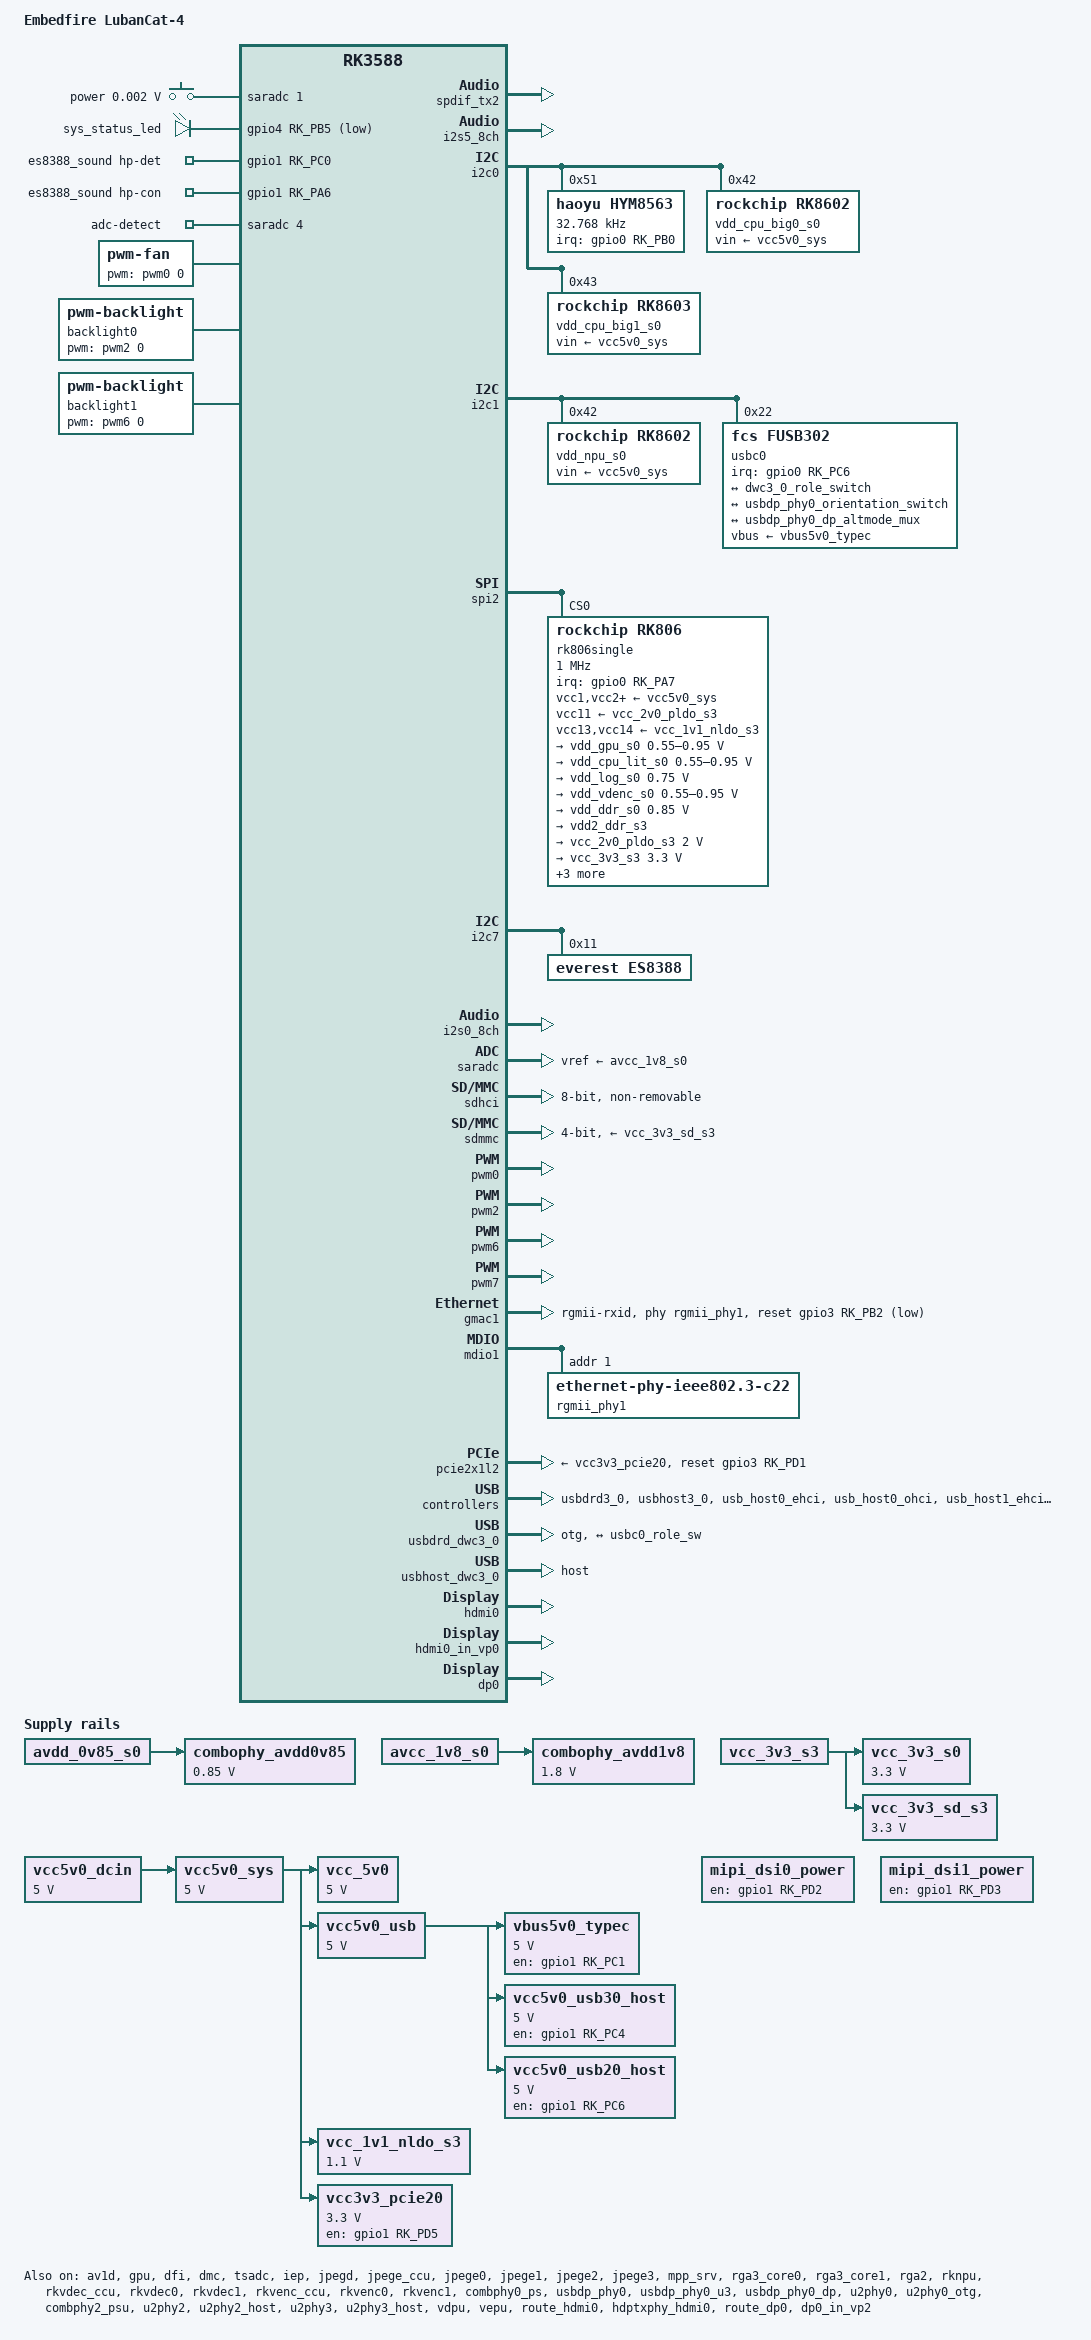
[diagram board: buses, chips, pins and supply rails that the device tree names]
// SPDX-License-Identifier: (GPL-2.0+ OR MIT)
/*
 * Copyright (c) 2021 Rockchip Electronics Co., Ltd.
 * Copyright (c) 2023 EmbedFire <embedfire@embedfire.com>
 * Copyright (c) 2023 erd-yunmu <cancet@embedfire.com>
 */

/dts-v1/;

#include <dt-bindings/usb/pd.h>
#include <dt-bindings/gpio/gpio.h>
#include <dt-bindings/pwm/pwm.h>
#include <dt-bindings/pinctrl/rockchip.h>
#include <dt-bindings/input/rk-input.h>
#include <dt-bindings/display/drm_mipi_dsi.h>
#include <dt-bindings/display/rockchip_vop.h>
#include <dt-bindings/sensor-dev.h>
#include "rk3588s.dtsi"
#include "rk3588-linux.dtsi"

/ {
	model = "Embedfire LubanCat-4";
	compatible = "rockchip,rk3588s-lubancat-4", "rockchip,rk3588";

	chosen: chosen {
		bootargs = "earlycon=uart8250,mmio32,0xfeb50000 console=ttyFIQ0 coherent_pool=1m irqchip.gicv3_pseudo_nmi=0";
	};

	adc_keys: adc-keys {
		compatible = "adc-keys";
		io-channels = <&saradc 1>;
		io-channel-names = "buttons";
		keyup-threshold-microvolt = <1800000>;
		poll-interval = <100>;
		
		power {
			label = "power";
			linux,code = <KEY_POWER>;
			press-threshold-microvolt = <1750>;
		};
	};

	leds: leds {
		status = "okay";
		compatible = "gpio-leds";

		sys_status_led: sys-status-led {
			label = "sys_status_led";
			linux,default-trigger = "heartbeat";
			default-state = "on";
			gpios = <&gpio4 RK_PB5 GPIO_ACTIVE_LOW>;
			pinctrl-names = "default";
			pinctrl-0 = <&sys_status_led_pin>;
		};
	};

	vcc5v0_dcin: vcc5v0-dcin {
		compatible = "regulator-fixed";
		regulator-name = "vcc5v_dcin";
		regulator-always-on;
		regulator-boot-on;
		regulator-min-microvolt = <5000000>;
		regulator-max-microvolt = <5000000>;
	};
	
	vcc5v0_sys: vcc5v0-sys {
		compatible = "regulator-fixed";
		regulator-name = "vcc5v0_sys";
		regulator-always-on;
		regulator-boot-on;
		regulator-min-microvolt = <5000000>;
		regulator-max-microvolt = <5000000>;
		vin-supply = <&vcc5v0_dcin>;
	};

	vcc_5v0: vcc-5v0 {
		compatible = "regulator-fixed";
		regulator-name = "vcc_5v0";
		regulator-always-on;
		regulator-boot-on;
		regulator-min-microvolt = <5000000>;
		regulator-max-microvolt = <5000000>;
		vin-supply = <&vcc5v0_sys>;
	};

	vcc5v0_usb: vcc5v0-usb {
		compatible = "regulator-fixed";
		regulator-name = "vcc_5v0";
		regulator-always-on;
		regulator-boot-on;
		regulator-min-microvolt = <5000000>;
		regulator-max-microvolt = <5000000>;
		vin-supply = <&vcc5v0_sys>;
	};

	combophy_avdd0v85: combophy-avdd0v85 {
		compatible = "regulator-fixed";
		regulator-name = "combophy_avdd0v85";
		regulator-boot-on;
		regulator-min-microvolt = <850000>;
		regulator-max-microvolt = <850000>;
		vin-supply = <&avdd_0v85_s0>;
	};

	combophy_avdd1v8: combophy-avdd1v8 {
		compatible = "regulator-fixed";
		regulator-name = "combophy_avdd1v8";
		regulator-boot-on;
		regulator-min-microvolt = <1800000>;
		regulator-max-microvolt = <1800000>;
		vin-supply = <&avcc_1v8_s0>;
	};

	vcc_1v1_nldo_s3: vcc-1v1-nldo-s3 {
		compatible = "regulator-fixed";
		regulator-name = "vcc_1v1_nldo_s3";
		regulator-always-on;
		regulator-boot-on;
		regulator-min-microvolt = <1100000>;
		regulator-max-microvolt = <1100000>;
		vin-supply = <&vcc5v0_sys>;
	};

	vcc_3v3_s0: vcc-3v3-s0 {
		compatible = "regulator-fixed";
		regulator-name = "vcc_3v3_s0";
		regulator-always-on;
		regulator-boot-on;
		regulator-min-microvolt = <3300000>;
		regulator-max-microvolt = <3300000>;
		vin-supply = <&vcc_3v3_s3>;
	};

	vcc_3v3_sd_s3: vcc-3v3-sd-s3 {
		compatible = "regulator-fixed";
		regulator-name = "vcc_3v3_sd_s3";
		regulator-always-on;
		regulator-boot-on;
		regulator-min-microvolt = <3300000>;
		regulator-max-microvolt = <3300000>;
		vin-supply = <&vcc_3v3_s3>;
	};

	vbus5v0_typec: vbus5v0-typec {
		compatible = "regulator-fixed";
		regulator-name = "vbus5v0_typec";
		regulator-min-microvolt = <5000000>;
		regulator-max-microvolt = <5000000>;
		enable-active-high;
		gpio = <&gpio1 RK_PC1 GPIO_ACTIVE_HIGH>;
		vin-supply = <&vcc5v0_usb>;
		pinctrl-names = "default";
		pinctrl-0 = <&typec_vbus_en>;
	};

	vcc5v0_usb30_host: vcc5v0-usb30-host {
		compatible = "regulator-fixed";
		regulator-name = "vcc5v0_usb30_host";
		regulator-min-microvolt = <5000000>;
		regulator-max-microvolt = <5000000>;
		enable-active-high;
		gpio = <&gpio1 RK_PC4 GPIO_ACTIVE_HIGH>;
		vin-supply = <&vcc5v0_usb>;
		pinctrl-names = "default";
		pinctrl-0 = <&usb30_host_pwr_en>;
	};

	vcc5v0_usb20_host: vcc5v0-usb20-host {
		compatible = "regulator-fixed";
		regulator-name = "vcc5v0_usb20_host";
		regulator-min-microvolt = <5000000>;
		regulator-max-microvolt = <5000000>;
		enable-active-high;
		gpio = <&gpio1 RK_PC6 GPIO_ACTIVE_HIGH>;
		vin-supply = <&vcc5v0_usb>;
		pinctrl-names = "default";
		pinctrl-0 = <&usb20_host_pwr_en>;
	};

	vcc3v3_pcie20: vcc3v3-pcie20 {
		compatible = "regulator-fixed";
		regulator-name = "vcc3v3_pcie20";
		regulator-min-microvolt = <3300000>;
		regulator-max-microvolt = <3300000>;
		enable-active-high;
		regulator-always-on;
		gpios = <&gpio1 RK_PD5 GPIO_ACTIVE_HIGH>;
		startup-delay-us = <5000>;
		vin-supply = <&vcc5v0_sys>;
	};

	mipi_dsi0_power: mipi-dsi0-power-regulator {
		compatible = "regulator-fixed";
		regulator-name = "mipi_dsi0_power";
		gpio = <&gpio1 RK_PD2 GPIO_ACTIVE_HIGH>;
		enable-active-high;
		regulator-boot-on;
		regulator-always-on;
	};

	mipi_dsi1_power: mipi-dsi1-power-regulator {
		compatible = "regulator-fixed";
		regulator-name = "mipi_dsi1_power";
		gpio = <&gpio1 RK_PD3 GPIO_ACTIVE_HIGH>;
		enable-active-high;
		regulator-boot-on;
		regulator-always-on;
	};

	dp0_sound: dp0-sound {
		status = "okay";
		compatible = "rockchip,hdmi";
		rockchip,card-name= "rockchip,dp0";
		rockchip,mclk-fs = <512>;
		rockchip,cpu = <&spdif_tx2>;
		rockchip,codec = <&dp0 1>;
		rockchip,jack-det;
	};

	hdmi0_sound: hdmi0-sound {
		status = "okay";
		compatible = "rockchip,hdmi";
		rockchip,mclk-fs = <128>;
		rockchip,card-name = "rockchip-hdmi0";
		rockchip,cpu = <&i2s5_8ch>;
		rockchip,codec = <&hdmi0>;
		rockchip,jack-det;
	};

	es8388_sound: es8388-sound {
		status = "okay";
		compatible = "rockchip,multicodecs-card";
		rockchip,card-name = "rockchip-es8388";
		hp-det-gpio = <&gpio1 RK_PC0 GPIO_ACTIVE_HIGH>;
		hp-con-gpio = <&gpio1 RK_PA6 GPIO_ACTIVE_HIGH>;
		io-channels = <&saradc 4>;
		io-channel-names = "adc-detect";
		keyup-threshold-microvolt = <1800000>;
		poll-interval = <100>;
		rockchip,format = "i2s";
		rockchip,mclk-fs = <256>;
		rockchip,cpu = <&i2s0_8ch>;
		rockchip,codec = <&es8388>;
		rockchip,audio-routing =
			"Headphone", "LOUT1",
			"Headphone", "ROUT1",
			"Headphone", "Headphone Power",
			"Headphone", "Headphone Power",
			"LINPUT1", "Main Mic",
			"LINPUT2", "Main Mic",
			"RINPUT1", "Headset Mic",
			"RINPUT2", "Headset Mic";
		pinctrl-names = "default";
		pinctrl-0 = <&hp_det>;
		play-pause-key {
			label = "playpause";
			linux,code = <KEY_PLAYPAUSE>;
			press-threshold-microvolt = <2000>;
		};

		previous-song-key {
			label = "previoussong";
			linux,code = <KEY_PREVIOUSSONG>;
			press-threshold-microvolt = <145000>;
		};

		next-song-key {
			label = "nextsong";
			linux,code = <KEY_NEXTSONG>;
			press-threshold-microvolt = <290000>;
		};
	};

	fan: pwm-fan {
		compatible = "pwm-fan";
		#cooling-cells = <2>;
		pwms = <&pwm0 0 250000 0>;
		cooling-levels = <0 100 150 200 255>;
		rockchip,temp-trips = <
			50000	1
			55000	2
			60000	3
			65000	4
		>;
	};

	backlight0: backlight0 {
		compatible = "pwm-backlight";
		pwms = <&pwm2 0 25000 0>;
		brightness-levels = <
		0  20  20  21  21  22  22  23
		23  24  24  25  25  26  26  27
		27  28  28  29  29  30  30  31
		31  32  32  33  33  34  34  35
		35  36  36  37  37  38  38  39
		40  41  42  43  44  45  46  47
		48  49  50  51  52  53  54  55
		56  57  58  59  60  61  62  63
		64  65  66  67  68  69  70  71
		72  73  74  75  76  77  78  79
		80  81  82  83  84  85  86  87
		88  89  90  91  92  93  94  95
		96  97  98  99 100 101 102 103
		104 105 106 107 108 109 110 111
		112 113 114 115 116 117 118 119
		120 121 122 123 124 125 126 127
		128 129 130 131 132 133 134 135
		136 137 138 139 140 141 142 143
		144 145 146 147 148 149 150 151
		152 153 154 155 156 157 158 159
		160 161 162 163 164 165 166 167
		168 169 170 171 172 173 174 175
		176 177 178 179 180 181 182 183
		184 185 186 187 188 189 190 191
		192 193 194 195 196 197 198 199
		200 201 202 203 204 205 206 207
		208 209 210 211 212 213 214 215
		216 217 218 219 220 221 222 223
		224 225 226 227 228 229 230 231
		232 233 234 235 236 237 238 239
		240 241 242 243 244 245 246 247
		248 249 250 251 252 253 254 255	
		>;
		default-brightness-level = <200>;
	};

	backlight1: backlight1 {
		compatible = "pwm-backlight";
		pwms = <&pwm6 0 25000 0>;
		brightness-levels = <
		0  20  20  21  21  22  22  23
		23  24  24  25  25  26  26  27
		27  28  28  29  29  30  30  31
		31  32  32  33  33  34  34  35
		35  36  36  37  37  38  38  39
		40  41  42  43  44  45  46  47
		48  49  50  51  52  53  54  55
		56  57  58  59  60  61  62  63
		64  65  66  67  68  69  70  71
		72  73  74  75  76  77  78  79
		80  81  82  83  84  85  86  87
		88  89  90  91  92  93  94  95
		96  97  98  99 100 101 102 103
		104 105 106 107 108 109 110 111
		112 113 114 115 116 117 118 119
		120 121 122 123 124 125 126 127
		128 129 130 131 132 133 134 135
		136 137 138 139 140 141 142 143
		144 145 146 147 148 149 150 151
		152 153 154 155 156 157 158 159
		160 161 162 163 164 165 166 167
		168 169 170 171 172 173 174 175
		176 177 178 179 180 181 182 183
		184 185 186 187 188 189 190 191
		192 193 194 195 196 197 198 199
		200 201 202 203 204 205 206 207
		208 209 210 211 212 213 214 215
		216 217 218 219 220 221 222 223
		224 225 226 227 228 229 230 231
		232 233 234 235 236 237 238 239
		240 241 242 243 244 245 246 247
		248 249 250 251 252 253 254 255	
		>;
		default-brightness-level = <200>;
	};

	test-power {
		status = "okay";
	};
};

&rockchip_suspend {
	status = "disabled";
	rockchip,sleep-debug-en = <1>;
	rockchip,sleep-mode-config = <
		(0
		| RKPM_SLP_ARMOFF_DDRPD 
		)
	>;
	rockchip,wakeup-config = <
		(0
		| RKPM_GPIO_WKUP_EN
		| RKPM_CPU0_WKUP_EN
		)
	>;
};

&av1d {
	status = "okay";
};

&av1d_mmu {
	status = "okay";
};

&spdif_tx2 {
    status = "okay";
};

&i2s5_8ch {
	status = "okay";
};

&cpu_l0 {
	cpu-supply = <&vdd_cpu_lit_s0>;
	mem-supply = <&vdd_cpu_lit_mem_s0>;
};

&cpu_b0 {
	cpu-supply = <&vdd_cpu_big0_s0>;
	mem-supply = <&vdd_cpu_big0_mem_s0>;
};

&cpu_b2 {
	cpu-supply = <&vdd_cpu_big1_s0>;
	mem-supply = <&vdd_cpu_big1_mem_s0>;
};

&gpu {
	mali-supply = <&vdd_gpu_s0>;
	mem-supply = <&vdd_gpu_mem_s0>;
	upthreshold = <60>;
	downdifferential = <30>;
	status = "okay";
};

&dfi {
	status = "okay";
};

&dmc {
	status = "okay";
	center-supply = <&vdd_ddr_s0>;
	mem-supply = <&vdd_log_s0>;
};

&i2c0 {
	pinctrl-names = "default";
	pinctrl-0 = <&i2c0m2_xfer>;
	status = "okay";

	hym8563: hym8563@51 {
		compatible = "haoyu,hym8563";
		reg = <0x51>;
		#clock-cells = <0>;
		clock-frequency = <32768>;
		clock-output-names = "hym8563";
		pinctrl-names = "default";
		pinctrl-0 = <&hym8563_int>;
		interrupt-parent = <&gpio0>;
		interrupts = <RK_PB0 IRQ_TYPE_LEVEL_LOW>;
		wakeup-source;
	};

	vdd_cpu_big0_s0: vdd_cpu_big0_mem_s0: rk8602@42 {
		compatible = "rockchip,rk8602";
		reg = <0x42>;
		vin-supply = <&vcc5v0_sys>;
		regulator-compatible = "rk860x-reg";
		regulator-name = "vdd_cpu_big0_s0";
		regulator-min-microvolt = <550000>;
		regulator-max-microvolt = <1050000>;
		regulator-ramp-delay = <2300>;
		rockchip,suspend-voltage-selector = <1>;
		regulator-boot-on;
		regulator-always-on;
		regulator-state-mem {
			regulator-off-in-suspend;
		};
	};

	vdd_cpu_big1_s0: vdd_cpu_big1_mem_s0: rk8603@43 {
		compatible = "rockchip,rk8603";
		reg = <0x43>;
		vin-supply = <&vcc5v0_sys>;
		regulator-compatible = "rk860x-reg";
		regulator-name = "vdd_cpu_big1_s0";
		regulator-min-microvolt = <550000>;
		regulator-max-microvolt = <1050000>;
		regulator-ramp-delay = <2300>;
		rockchip,suspend-voltage-selector = <1>;
		regulator-boot-on;
		regulator-always-on;
		regulator-state-mem {
			regulator-off-in-suspend;
		};
	};
};

&i2c1 {
	pinctrl-names = "default";
	pinctrl-0 = <&i2c1m2_xfer>;
	status = "okay";

	vdd_npu_s0: vdd_npu_mem_s0: rk8602@42 {
		compatible = "rockchip,rk8602";
		reg = <0x42>;
		vin-supply = <&vcc5v0_sys>;
		regulator-compatible = "rk860x-reg";
		regulator-name = "vdd_npu_s0";
		regulator-min-microvolt = <550000>;
		regulator-max-microvolt = <950000>;
		regulator-ramp-delay = <2300>;
		rockchip,suspend-voltage-selector = <1>;
		regulator-boot-on;
		regulator-always-on;
		regulator-state-mem {
			regulator-off-in-suspend;
		};
	};

	/* Typec Controller Fusb302 */
	usbc0: fusb302@22 {
		compatible = "fcs,fusb302";
		reg = <0x22>;
		interrupt-parent = <&gpio0>;
		interrupts = <RK_PC6 IRQ_TYPE_LEVEL_LOW>;
		pinctrl-names = "default";
		pinctrl-0 = <&fusb302_int>;
		vbus-supply = <&vbus5v0_typec>;
		status = "okay";

		ports {
			#address-cells = <1>;
			#size-cells = <0>;

			port@0 {
				reg = <0>;
				usbc0_role_sw: endpoint@0 {
					remote-endpoint = <&dwc3_0_role_switch>;
				};
			};
		};

		usb_con: connector {
			compatible = "usb-c-connector";
			label = "USB-C";
			data-role = "dual";
			power-role = "dual";
			try-power-role = "sink";
			op-sink-microwatt = <1000000>;
			sink-pdos =
				<PDO_FIXED(5000, 1000, PDO_FIXED_USB_COMM)>;
			source-pdos =
				<PDO_FIXED(5000, 3000, PDO_FIXED_USB_COMM)>;

			altmodes {
				#address-cells = <1>;
				#size-cells = <0>;

				altmode@0 {
					reg = <0>;
					svid = <0xff01>;
					vdo = <0xffffffff>;
				};
			};

			ports {
				#address-cells = <1>;
				#size-cells = <0>;

				port@0 {
					reg = <0>;
					usbc0_orien_sw: endpoint {
						remote-endpoint = <&usbdp_phy0_orientation_switch>;
					};
				};

				port@1 {
					reg = <1>;
					dp_altmode_mux: endpoint {
						remote-endpoint = <&usbdp_phy0_dp_altmode_mux>;
					};
				};
			};
		};
	};
};

&spi2 {
	status = "okay";
	assigned-clocks = <&cru CLK_SPI2>;
	assigned-clock-rates = <200000000>;
	pinctrl-names = "default";
	pinctrl-0 = <&spi2m2_cs0 &spi2m2_pins>;
	num-cs = <1>;

	rk806single@0 {
		compatible = "rockchip,rk806";
		spi-max-frequency = <1000000>;
		reg = <0x0>;

		interrupt-parent = <&gpio0>;
		interrupts = <RK_PA7 IRQ_TYPE_LEVEL_LOW>;

		pinctrl-names = "default", "pmic-power-off";
		pinctrl-0 = <&pmic_pins>, <&rk806_dvs1_null>, <&rk806_dvs2_null>, <&rk806_dvs3_null>;
		pinctrl-1 = <&rk806_dvs1_pwrdn>;

		/* 2800mv-3500mv */
		low_voltage_threshold = <3000>;
		/* 2700mv-3400mv */
		shutdown_voltage_threshold = <2700>;
		/* 140 160 */
		shutdown_temperture_threshold = <160>;
		hotdie_temperture_threshold = <115>;

		/* 0: restart PMU;
		 * 1: reset all the power off reset registers,
		 *	forcing the state to switch to ACTIVE mode;
		 * 2: Reset all the power off reset registers,
		 *	forcing the state to switch to ACTIVE mode,
		 *	and simultaneously pull down the RESETB PIN for 5mS before releasing
		 */
		pmic-reset-func = <1>;

		vcc1-supply = <&vcc5v0_sys>;
		vcc2-supply = <&vcc5v0_sys>;
		vcc3-supply = <&vcc5v0_sys>;
		vcc4-supply = <&vcc5v0_sys>;
		vcc5-supply = <&vcc5v0_sys>;
		vcc6-supply = <&vcc5v0_sys>;
		vcc7-supply = <&vcc5v0_sys>;
		vcc8-supply = <&vcc5v0_sys>;
		vcc9-supply = <&vcc5v0_sys>;
		vcc10-supply = <&vcc5v0_sys>;
		vcc11-supply = <&vcc_2v0_pldo_s3>;
		vcc12-supply = <&vcc5v0_sys>;
		vcc13-supply = <&vcc_1v1_nldo_s3>;
		vcc14-supply = <&vcc_1v1_nldo_s3>;
		vcca-supply = <&vcc5v0_sys>;

		pwrkey {
			status = "okay";
		};

		pinctrl_rk806: pinctrl_rk806 {
			gpio-controller;
			#gpio-cells = <2>;

			rk806_dvs1_null: rk806_dvs1_null {
				pins = "gpio_pwrctrl2";
				function = "pin_fun0";
			};

			rk806_dvs1_slp: rk806_dvs1_slp {
				pins = "gpio_pwrctrl1";
				function = "pin_fun1";
			};

			rk806_dvs1_pwrdn: rk806_dvs1_pwrdn {
				pins = "gpio_pwrctrl1";
				function = "pin_fun2";
			};

			rk806_dvs1_rst: rk806_dvs1_rst {
				pins = "gpio_pwrctrl1";
				function = "pin_fun3";
			};

			rk806_dvs2_null: rk806_dvs2_null {
				pins = "gpio_pwrctrl2";
				function = "pin_fun0";
			};

			rk806_dvs2_slp: rk806_dvs2_slp {
				pins = "gpio_pwrctrl2";
				function = "pin_fun1";
			};

			rk806_dvs2_pwrdn: rk806_dvs2_pwrdn {
				pins = "gpio_pwrctrl2";
				function = "pin_fun2";
			};

			rk806_dvs2_rst: rk806_dvs2_rst {
				pins = "gpio_pwrctrl2";
				function = "pin_fun3";
			};

			rk806_dvs2_dvs: rk806_dvs2_dvs {
				pins = "gpio_pwrctrl2";
				function = "pin_fun4";
			};

			rk806_dvs2_gpio: rk806_dvs2_gpio {
				pins = "gpio_pwrctrl2";
				function = "pin_fun5";
			};

			rk806_dvs3_null: rk806_dvs3_null {
				pins = "gpio_pwrctrl3";
				function = "pin_fun0";
			};

			rk806_dvs3_slp: rk806_dvs3_slp {
				pins = "gpio_pwrctrl3";
				function = "pin_fun1";
			};

			rk806_dvs3_pwrdn: rk806_dvs3_pwrdn {
				pins = "gpio_pwrctrl3";
				function = "pin_fun2";
			};

			rk806_dvs3_rst: rk806_dvs3_rst {
				pins = "gpio_pwrctrl3";
				function = "pin_fun3";
			};

			rk806_dvs3_dvs: rk806_dvs3_dvs {
				pins = "gpio_pwrctrl3";
				function = "pin_fun4";
			};

			rk806_dvs3_gpio: rk806_dvs3_gpio {
				pins = "gpio_pwrctrl3";
				function = "pin_fun5";
			};
		};

		regulators {
			vdd_gpu_s0: vdd_gpu_mem_s0: DCDC_REG1 {
				regulator-always-on;
				regulator-boot-on;
				regulator-min-microvolt = <550000>;
				regulator-max-microvolt = <950000>;
				regulator-ramp-delay = <12500>;
				regulator-name = "vdd_gpu_s0";
				regulator-state-mem {
					regulator-off-in-suspend;
				};
			};

			vdd_cpu_lit_s0: vdd_cpu_lit_mem_s0: DCDC_REG2 {
				regulator-always-on;
				regulator-boot-on;
				regulator-min-microvolt = <550000>;
				regulator-max-microvolt = <950000>;
				regulator-ramp-delay = <12500>;
				regulator-name = "vdd_cpu_lit_s0";
				regulator-state-mem {
					regulator-off-in-suspend;
				};
			};

			vdd_log_s0: DCDC_REG3 {
				regulator-always-on;
				regulator-boot-on;
				regulator-min-microvolt = <750000>;
				regulator-max-microvolt = <750000>;
				regulator-ramp-delay = <12500>;
				regulator-name = "vdd_log_s0";
				regulator-state-mem {
					regulator-on-in-suspend;
				};
			};

			vdd_vdenc_s0: vdd_vdenc_mem_s0: DCDC_REG4 {
				regulator-always-on;
				regulator-boot-on;
				regulator-min-microvolt = <550000>;
				regulator-max-microvolt = <950000>;
				regulator-init-microvolt = <750000>;
				regulator-ramp-delay = <12500>;
				regulator-name = "vdd_vdenc_s0";
				regulator-state-mem {
					regulator-off-in-suspend;
				};
			};

			vdd_ddr_s0: DCDC_REG5 {
				regulator-always-on;
				regulator-boot-on;
				regulator-min-microvolt = <850000>;
				regulator-max-microvolt = <850000>;
				regulator-ramp-delay = <12500>;
				regulator-name = "vdd_ddr_s0";
				regulator-state-mem {
					regulator-off-in-suspend;
					regulator-suspend-microvolt = <850000>;
				};
			};

			vdd2_ddr_s3: DCDC_REG6 {
				regulator-always-on;
				regulator-boot-on;
				regulator-name = "vdd2_ddr_s3";
				regulator-state-mem {
					regulator-on-in-suspend;
				};
			};

			vcc_2v0_pldo_s3: DCDC_REG7 {
				regulator-always-on;
				regulator-boot-on;
				regulator-min-microvolt = <2000000>;
				regulator-max-microvolt = <2000000>;
				regulator-name = "vdd_2v0_pldo_s3";
				regulator-state-mem {
					regulator-on-in-suspend;
					regulator-suspend-microvolt = <2000000>;
				};
			};

			vcc_3v3_s3: DCDC_REG8 {
				regulator-always-on;
				regulator-boot-on;
				regulator-min-microvolt = <3300000>;
				regulator-max-microvolt = <3300000>;
				regulator-name = "vcc_3v3_s3";
				regulator-state-mem {
					regulator-on-in-suspend;
				};
			};

			vddq_ddr_s0: DCDC_REG9 {
				regulator-always-on;
				regulator-boot-on;
				regulator-name = "vddq_ddr_s0";
				regulator-state-mem {
					regulator-off-in-suspend;
				};
			};

			vcc_1v8_s3: DCDC_REG10 {
				regulator-always-on;
				regulator-boot-on;
				regulator-min-microvolt = <1800000>;
				regulator-max-microvolt = <1800000>;
				regulator-name = "vcc_1v8_s3";
				regulator-state-mem {
					regulator-on-in-suspend;
					regulator-suspend-microvolt = <1800000>;
				};
			};

			vcc_1v8_s0: PLDO_REG1 {
				regulator-always-on;
				regulator-boot-on;
				regulator-min-microvolt = <1800000>;
				regulator-max-microvolt = <1800000>;
				regulator-name = "vcc_1v8_s0";
				regulator-state-mem {
					regulator-on-in-suspend;
				};
			};

			avcc_1v8_s0: PLDO_REG2 {
				regulator-always-on;
				regulator-boot-on;
				regulator-min-microvolt = <1800000>;
				regulator-max-microvolt = <1800000>;
				regulator-name = "avcc_1v8_s0";
				regulator-state-mem {
					regulator-off-in-suspend;
					regulator-suspend-microvolt = <1800000>;
				};
			};

			avdd_1v2_s0: PLDO_REG3 {
				regulator-always-on;
				regulator-boot-on;
				regulator-min-microvolt = <1200000>;
				regulator-max-microvolt = <1200000>;
				regulator-name = "avdd_1v2_s0";
				regulator-state-mem {
					regulator-off-in-suspend;
				};
			};

			avcc_3v3_s0: PLDO_REG4 {
				regulator-always-on;
				regulator-boot-on;
				regulator-min-microvolt = <3300000>;
				regulator-max-microvolt = <3300000>;
				regulator-name = "avcc_3v3_s0";
				regulator-state-mem {
					regulator-off-in-suspend;
				};
			};

			vccio_sd_s0: PLDO_REG5 {
				regulator-always-on;
				regulator-boot-on;
				regulator-min-microvolt = <1800000>;
				regulator-max-microvolt = <3300000>;
				regulator-name = "vccio_sd_s0";
				regulator-state-mem {
					regulator-off-in-suspend;
				};
			};

			pldo6_s3: PLDO_REG6 {
				regulator-always-on;
				regulator-boot-on;
				regulator-min-microvolt = <1800000>;
				regulator-max-microvolt = <1800000>;
				regulator-name = "pldo6_s3";
				regulator-state-mem {
					regulator-on-in-suspend;
					regulator-suspend-microvolt = <1800000>;
				};
			};

			vdd_0v75_s3: NLDO_REG1 {
				regulator-always-on;
				regulator-boot-on;
				regulator-min-microvolt = <750000>;
				regulator-max-microvolt = <750000>;
				regulator-name = "vdd_0v75_s3";
				regulator-state-mem {
					regulator-on-in-suspend;
					regulator-suspend-microvolt = <750000>;
				};
			};

			avdd_ddr_pll_s0: NLDO_REG2 {
				regulator-always-on;
				regulator-boot-on;
				regulator-min-microvolt = <850000>;
				regulator-max-microvolt = <850000>;
				regulator-name = "avdd_ddr_pll_s0";
				regulator-state-mem {
					regulator-off-in-suspend;
					regulator-suspend-microvolt = <850000>;
				};
			};

			avdd_0v75_s0: NLDO_REG3 {
				regulator-always-on;
				regulator-boot-on;
				regulator-min-microvolt = <750000>;
				regulator-max-microvolt = <750000>;
				regulator-name = "avdd_0v75_s0";
				regulator-state-mem {
					regulator-off-in-suspend;
				};
			};

			avdd_0v85_s0: NLDO_REG4 {
				regulator-always-on;
				regulator-boot-on;
				regulator-min-microvolt = <850000>;
				regulator-max-microvolt = <850000>;
				regulator-name = "avdd_0v85_s0";
				regulator-state-mem {
					regulator-off-in-suspend;
				};
			};

			nldo5_s0: NLDO_REG5 {
				regulator-name = "nldo5_s0";
				regulator-state-mem {
					regulator-off-in-suspend;
				};
			};
		};
	};
};

&i2c7 {
	pinctrl-names = "default";
	pinctrl-0 = <&i2c7m0_xfer>;
	status = "okay";

	es8388: es8388@11 {
		status = "okay";
		#sound-dai-cells = <0>;
		compatible = "everest,es8388", "everest,es8323";
		reg = <0x11>;
		clocks = <&mclkout_i2s0>;
		clock-names = "mclk";
		assigned-clocks = <&mclkout_i2s0>;
		assigned-clock-rates = <12288000>;
		pinctrl-names = "default";
		pinctrl-0 = <&i2s0_mclk>;
	};
};

&i2s0_8ch {
    status = "okay";
    rockchip,clk-trcm = <1>;
    pinctrl-0 = <&i2s0_lrck
             &i2s0_sclk
             &i2s0_sdi0
             &i2s0_sdo0>;
};

&saradc {
	status = "okay";
	vref-supply = <&avcc_1v8_s0>;
};

&tsadc {
	status = "okay";
};

&sdhci {
	bus-width = <8>;
	no-sdio;
	no-sd;
	non-removable;
	max-frequency = <200000000>;
	mmc-hs400-1_8v;
	mmc-hs400-enhanced-strobe;
	status = "okay";
};

&sdmmc {
	max-frequency = <200000000>;
	no-sdio;
	no-mmc;
	bus-width = <4>;
	cap-mmc-highspeed;
	cap-sd-highspeed;
	disable-wp;
	sd-uhs-sdr104;
	vmmc-supply = <&vcc_3v3_sd_s3>;
	vqmmc-supply = <&vccio_sd_s0>;
	pinctrl-names = "default";
	pinctrl-0 = <&sdmmc_bus4 &sdmmc_clk &sdmmc_cmd &sdmmc_det>;
	status = "okay";
};

&iep {
	status = "okay";
};

&iep_mmu {
	status = "okay";
};

&jpegd {
	status = "okay";
};

&jpegd_mmu {
	status = "okay";
};

&jpege_ccu {
	status = "okay";
};

&jpege0 {
	status = "okay";
};

&jpege0_mmu {
	status = "okay";
};

&jpege1 {
	status = "okay";
};

&jpege1_mmu {
	status = "okay";
};

&jpege2 {
	status = "okay";
};

&jpege2_mmu {
	status = "okay";
};

&jpege3 {
	status = "okay";
};

&jpege3_mmu {
	status = "okay";
};

&mpp_srv {
	status = "okay";
};

&pwm0 {
	pinctrl-0 = <&pwm0m2_pins>;
	status = "okay";
};

&pwm2 {
	pinctrl-0 = <&pwm2m0_pins>;
	status = "okay";
};

&pwm6 {
	pinctrl-0 = <&pwm6m0_pins>;
	status = "okay";
};

&pwm7 {
	compatible = "rockchip,remotectl-pwm";
	pinctrl-names = "default";
	pinctrl-0 = <&pwm7m0_pins>;
	remote_pwm_id = <3>;
	handle_cpu_id = <1>;
	remote_support_psci = <0>;
	status = "okay";

	ir_key_lubancat{
	rockchip,usercode = <0xff00>;
	rockchip,key_table =
		<0xeb   KEY_POWER>,
		<0xec   KEY_MENU>,
		<0xfe   KEY_BACK>,
		<0xb7   KEY_HOME>,
		<0xa3   KEY_WWW>,
		<0xf4   KEY_VOLUMEUP>,
		<0xa7   KEY_VOLUMEDOWN>,
		<0xf8   KEY_REPLY>,
		<0xfc   KEY_UP>,
		<0xfd   KEY_DOWN>,
		<0xf1   KEY_LEFT>,
		<0xe5   KEY_RIGHT>;
	};

	ir_key2 {	
		rockchip,usercode = <0xf708>;
		rockchip,key_table =	
			<0x28   KEY_POWER>,
			<0xfe   KEY_SETUP>,
			<0xa4   KEY_MUTE>,
			<0x6d   KEY_UP>,
			<0x68   KEY_LEFT>,
			<0x64   KEY_ENTER>,
			<0x60   KEY_RIGHT>,
			<0x27   KEY_DOWN>,
			<0x3c   KEY_MENU>,
			<0x7d   KEY_HOME>,
			<0x2b   KEY_BACK>,
			<0x7c   KEY_VOLUMEDOWN>,
			<0x79   KEY_VOLUMEUP>,
			<0x57   KEY_AUDIO>,
			<0x5d   KEY_SUBTITLE>,  
			<0x99   KEY_PHONE>, 
			<0xfd   KEY_WWW>,
			<0xfc   KEY_F1>,
			<0x7e   KEY_TV>;			
	};

	ir_key3 {
		rockchip,usercode = <0x1dcc>;
		rockchip,key_table =
			<0xee   KEY_REPLY>,
			<0xf0   KEY_BACK>,
			<0xf8   KEY_UP>,
			<0xbb   KEY_DOWN>,
			<0xef   KEY_LEFT>,
			<0xed   KEY_RIGHT>,
			<0xfc   KEY_HOME>,
			<0xf1   KEY_VOLUMEUP>,
			<0xfd   KEY_VOLUMEDOWN>,
			<0xb7   KEY_SEARCH>,
			<0xff   KEY_POWER>,
			<0xf3   KEY_MUTE>,
			<0xbf   KEY_MENU>,
			<0xf9   0x191>,
			<0xf5   0x192>,
			<0xb3   388>,
			<0xbe   KEY_1>,
			<0xba   KEY_2>,
			<0xb2   KEY_3>,
			<0xbd   KEY_4>,
			<0xf9   KEY_5>,
			<0xb1   KEY_6>,
			<0xfc   KEY_7>,
			<0xf8   KEY_8>,
			<0xb0   KEY_9>,
			<0xb6   KEY_0>,
			<0xb5   KEY_BACKSPACE>;
	};
};

&rga3_core0 {
	status = "okay";
};

&rga3_0_mmu {
	status = "okay";
};

&rga3_core1 {
	status = "okay";
};

&rga3_1_mmu {
	status = "okay";
};

&rga2 {
	status = "okay";
};

&rknpu {
	rknpu-supply = <&vdd_npu_s0>;
	mem-supply = <&vdd_npu_mem_s0>;
	status = "okay";
};

&rknpu_mmu {
	status = "okay";
};

&rkvdec_ccu {
	status = "okay";
};

&rkvdec0 {
	status = "okay";
};

&rkvdec0_mmu {
	status = "okay";
};

&rkvdec1 {
	status = "okay";
};

&rkvdec1_mmu {
	status = "okay";
};

&rkvenc_ccu {
	status = "okay";
};

&rkvenc0 {
	status = "okay";
};

&rkvenc0_mmu {
	status = "okay";
};

&rkvenc1 {
	status = "okay";
};

&rkvenc1_mmu {
	status = "okay";
};

&gmac1 {
	/* Use rgmii-rxid mode to disable rx delay inside Soc */
	phy-mode = "rgmii-rxid";
	clock_in_out = "output";

	snps,reset-gpio = <&gpio3 RK_PB2 GPIO_ACTIVE_LOW>;
	snps,reset-active-low;
	/* Reset time is 20ms, 100ms for rtl8211f */
	snps,reset-delays-us = <0 20000 100000>;

	pinctrl-names = "default";
	pinctrl-0 = <&gmac1_miim
			 &gmac1_tx_bus2
			 &gmac1_rx_bus2
			 &gmac1_rgmii_clk
			 &gmac1_rgmii_bus>;

	tx_delay = <0x30>;
	/* rx_delay = <0x4f>; */

	phy-handle = <&rgmii_phy1>;
	status = "okay";
};

&mdio1 {
	rgmii_phy1: phy@1 {
		compatible = "ethernet-phy-ieee802.3-c22";
		reg = <0x1>;
	};
};

/* SATA30/PCIe20x1_2 Combo PHY */
&combphy0_ps {
	status = "okay";
};

&pcie2x1l2 {
	reset-gpios = <&gpio3 RK_PD1 GPIO_ACTIVE_HIGH>;
	disable-gpios = <&gpio3 RK_PC6 GPIO_ACTIVE_HIGH>;
	vpcie3v3-supply = <&vcc3v3_pcie20>;
	status = "okay";
};

/* USB3.1/DP Combo PHY0 */
&usbdp_phy0 {
	orientation-switch;
	svid = <0xff01>;
	sbu1-dc-gpios = <&gpio4 RK_PB3 GPIO_ACTIVE_HIGH>;
	sbu2-dc-gpios = <&gpio4 RK_PB4 GPIO_ACTIVE_HIGH>;
	status = "okay";

	port {
		#address-cells = <1>;
		#size-cells = <0>;
		usbdp_phy0_orientation_switch: endpoint@0 {
			reg = <0>;
			remote-endpoint = <&usbc0_orien_sw>;
		};

		usbdp_phy0_dp_altmode_mux: endpoint@1 {
			reg = <1>;
			remote-endpoint = <&dp_altmode_mux>;
		};
	};
};

&usbdp_phy0_u3 {
	status = "okay";
};

&usbdp_phy0_dp {
	status = "okay";
};

/* USB3.1 OTG0 Controller  */
&usbdrd3_0 {
	status = "okay";
};

&usbdrd_dwc3_0 {
	dr_mode = "otg";
	usb-role-switch;
	
	status = "okay";
	port {
		#address-cells = <1>;
		#size-cells = <0>;
		dwc3_0_role_switch: endpoint@0 {
			reg = <0>;
			remote-endpoint = <&usbc0_role_sw>;
		};
	};
};

/* USB2.0 PHY0 */
&u2phy0 {
	status = "okay";
};

&u2phy0_otg {
	rockchip,typec-vbus-det;
	status = "okay";
};

/* USB3.1/SATA/PCIe20x1_1 Combo PHY */
&combphy2_psu {
	status = "okay";
};

/* USB3.1 HOST2 Controller  */
&usbhost3_0 {
	status = "okay";
};

&usbhost_dwc3_0 {
	dr_mode = "host";
	status = "okay";
};

/* USB2.0 HOST0 PHY2 */
&u2phy2 {
	status = "okay";
};

&u2phy2_host {
	phy-supply = <&vcc5v0_usb30_host>;
	status = "okay";
};

/* USB2.0 HOST0 Controller */
&usb_host0_ehci {
	status = "okay";
};

&usb_host0_ohci {
	status = "okay";
};

/* USB2.0 HOST1 PHY3 */
&u2phy3 {
	status = "okay";
};

&u2phy3_host {
	phy-supply = <&vcc5v0_usb20_host>;
	status = "okay";
};

/* USB2.0 HOST1 Controller */
&usb_host1_ehci {
	status = "okay";
};

&usb_host1_ohci {
	status = "okay";
};

&vdpu {
	status = "okay";
};

&vdpu_mmu {
	status = "okay";
};

&vepu {
	status = "okay";
};

/* hdmi0 display */
&hdmi0 {
	enable-gpios = <&gpio4 RK_PB6 GPIO_ACTIVE_HIGH>;
	cec-enable = "true";
	status = "okay";
};

&route_hdmi0{
	status = "okay";
	connect = <&vp0_out_hdmi0>;
};

&hdmi0_in_vp0 {
	status = "okay";
};

&hdmi0_in_vp1 {
	status = "disabled";
};

&hdmi0_in_vp2 {
	status = "disabled";
};

&hdptxphy_hdmi0 {
	status = "okay";
};

/* dp0 display */
&dp0 {
	status = "okay";
};

&route_dp0 {
	status = "okay";
	connect = <&vp2_out_dp0>;	
};

&dp0_in_vp0 {
	status = "disabled";
};

&dp0_in_vp1 {
	status = "dsiabled";
};

&dp0_in_vp2 {
	status = "okay";
};

&vop {
	status = "okay";
	disable-win-move;
	assigned-clocks = <&cru ACLK_VOP>;
	assigned-clock-rates = <800000000>;
};

&vop_mmu {
	status = "okay";
};

/* vp0 & vp1 splice for 8K output */
&vp0 {
	rockchip,plane-mask = <(1 << ROCKCHIP_VOP2_CLUSTER0 | 1 << ROCKCHIP_VOP2_ESMART0)>;
	rockchip,primary-plane = <ROCKCHIP_VOP2_ESMART0>;
	cursor-win-id = <ROCKCHIP_VOP2_CLUSTER0>;
};

&vp1 {
	rockchip,plane-mask = <(1 << ROCKCHIP_VOP2_CLUSTER1 | 1 << ROCKCHIP_VOP2_ESMART1)>;
	rockchip,primary-plane = <ROCKCHIP_VOP2_ESMART1>;
	cursor-win-id = <ROCKCHIP_VOP2_CLUSTER1>;
};

&vp2 {
	rockchip,plane-mask = <(1 << ROCKCHIP_VOP2_CLUSTER2 | 1 << ROCKCHIP_VOP2_ESMART2)>;
	rockchip,primary-plane = <ROCKCHIP_VOP2_ESMART2>;
	cursor-win-id = <ROCKCHIP_VOP2_CLUSTER2>;
};

&vp3 {
	rockchip,plane-mask = <(1 << ROCKCHIP_VOP2_CLUSTER3 | 1 << ROCKCHIP_VOP2_ESMART3)>;
	rockchip,primary-plane = <ROCKCHIP_VOP2_ESMART3>;
	cursor-win-id = <ROCKCHIP_VOP2_CLUSTER3>;
};

&display_subsystem {
	clocks = <&hdptxphy_hdmi_clk0>;
	clock-names = "hdmi0_phy_pll";
};

&hdptxphy_hdmi_clk0 {
    status = "okay";
};

&pinctrl {
    hym8563 {
        hym8563_int: hym8563-int {
            rockchip,pins = <0 RK_PB0 RK_FUNC_GPIO &pcfg_pull_up>;
        };
    };

	headphone {
		hp_det: hp-det {
			rockchip,pins = <1 RK_PC0 RK_FUNC_GPIO &pcfg_pull_none>;
		};
	};

	usb-typec {
		fusb302_int: fusb302-int {
			rockchip,pins = <0 RK_PC6 RK_FUNC_GPIO &pcfg_pull_up>;
		};

		typec_vbus_en: typec-vbus-en {
			rockchip,pins = <1 RK_PC1 RK_FUNC_GPIO &pcfg_pull_none>;
		};
	};

	usb {
		usb30_host_pwr_en: usb30-host-pwr-en {
			rockchip,pins = <1 RK_PC4 RK_FUNC_GPIO &pcfg_pull_none>;
		};

		usb20_host_pwr_en: usb20-host-pwr-en {
			rockchip,pins = <1 RK_PC6 RK_FUNC_GPIO &pcfg_pull_none>;
		};
	};

	leds {
		sys_status_led_pin: sys-status-led-pin {
			rockchip,pins = <4 RK_PB5 RK_FUNC_GPIO &pcfg_pull_none>;
		};
	};
};
